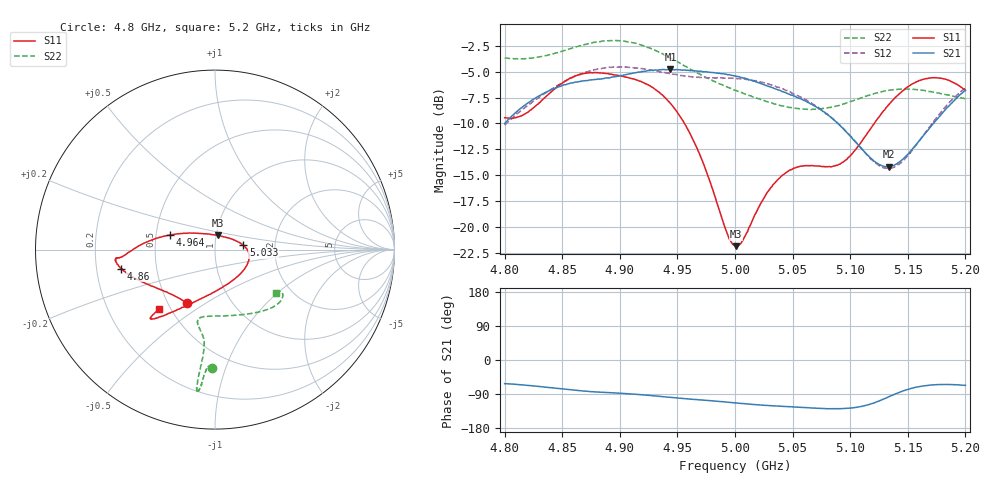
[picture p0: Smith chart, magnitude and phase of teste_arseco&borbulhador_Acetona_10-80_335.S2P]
! Network Analyzer HP8722D
! Hewlett-Packard
! Data name: Linha & Wilkinson
! Saver's name: Rodrigo Anjos
! Comments: Teste da utilização de aquisição
! continua pelo VNA HP8722D
! Time and date: 17/4/2025 17:09
!  Frequency  S11  S21  S12  S22
# HZ  S  MA R 50
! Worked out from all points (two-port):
!   401 points, 4.8 GHz to 5.2 GHz, reference 50 ohm
!   highest |S21| = -4.77 dB at 4.944 GHz (marker M1); lowest = -14.2 dB at 5.134 GHz (marker M2)
!   |S21| within 3 dB of the highest: 4.823 GHz to 5.06 GHz (236.3 MHz wide, 4.78 % of centre); 5.190433 GHz to end of sweep
!   lowest |S11| = -21.9 dB at 5.001 GHz (marker M3), VSWR 1.18, Z = 50.8 + j8.1 ohm
!   |S11| at or under -10 dB: 4.956 GHz to 5.121 GHz (164.9 MHz wide, 3.27 % of centre)
!   |S22| runs from -8.7 to -2.0 dB; largest |S21 - S12| = 0.87
!   S11 on the Smith chart (normalised r, x): 4.8 GHz: 0.62, -0.42; 4.86 GHz: 0.31, -0.09; 4.964 GHz: 0.60, +0.10; 5.033 GHz: 1.37, +0.07; 5.2 GHz: 0.43, -0.36
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4.8e9  0.3372 -117.2  0.3157 -62.4  0.3106 -176.6  0.6573 -91.5
4.818e9  0.353 -136.3  0.3886 -66.4  0.3792 -176.2  0.6516 -93.0
4.86e9  0.5338 -168.6  0.4993 -79.4  0.5315 -179.7  0.7364 -95.4
4.867e9  0.5495 -171.3  0.5077 -81.4  0.5508 179.0  0.7574 -95.6
4.9e9  0.5391 -175.2  0.5388 -87.7  0.5945 172.9  0.795 -97.2
4.934e9  0.4487 179.2  0.575 -96.0  0.5649 169.9  0.7005 -97.4
4.944e9  0.3954 174.7  0.5778 -98.6  0.5505 170.0  0.6567 -97.0
4.964e9  0.2616 161.8  0.5697 -103.8  0.5317 171.9  0.5685 -96.4
4.975e9  0.1863 150.8  0.5637 -106.4  0.5264 172.9  0.5276 -96.6
4.993e9  0.09345 111.9  0.546 -111.2  0.5254 173.9  0.476 -98.7
5e9  0.08129 84.2  0.5375 -113.2  0.5235 174.2  0.4583 -100.1
5.001e9  0.08049 79.8  0.5351 -113.1  0.5237 174.1  0.4568 -100.3
5.007e9  0.08624 56.1  0.5244 -114.9  0.519 174.1  0.4425 -101.5
5.033e9  0.1596 8.8  0.4708 -120.9  0.4828 172.9  0.3957 -103.2
5.049e9  0.189 -5.9  0.4336 -123.4  0.4452 172.3  0.3774 -98.6
5.067e9  0.1978 -25.6  0.3908 -126.6  0.3949 172.1  0.3703 -88.1
5.095e9  0.2078 -73.8  0.2938 -128.2  0.2952 174.6  0.3941 -66.5
5.121e9  0.3162 -112.2  0.2073 -113.1  0.2054 -167.7  0.4418 -49.6
5.134e9  0.3931 -121.9  0.1953 -96.4  0.1913 -149.4  0.458 -43.4
5.146e9  0.4573 -127.2  0.2134 -81.5  0.2085 -132.2  0.4645 -38.9
5.168e9  0.5238 -132.4  0.2963 -66.9  0.3001 -113.2  0.4521 -33.4
5.2e9  0.4566 -133.3  0.4584 -67.1  0.47 -109.3  0.4169 -35.1
